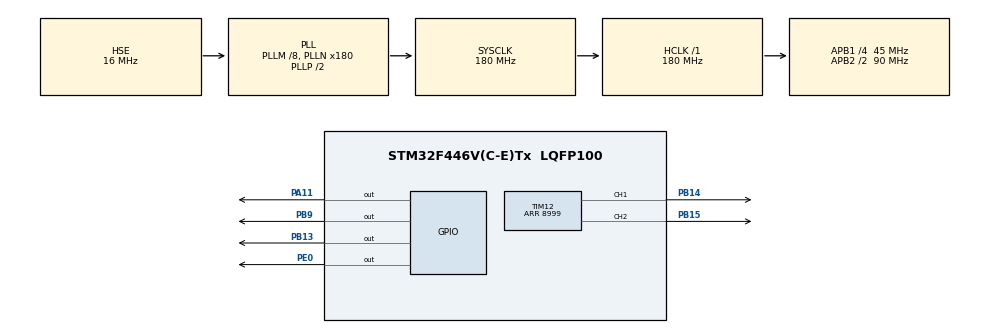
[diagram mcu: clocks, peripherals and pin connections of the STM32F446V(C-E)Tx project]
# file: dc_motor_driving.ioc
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Mcu.Family=STM32F4
RCC.PLLSourceVirtual=RCC_PLLSOURCE_HSE
PH0-OSC_IN.Signal=RCC_OSC_IN
RCC.CortexFreq_Value=180000000
TIM12.Channel-PWM\ Generation2\ CH2=TIM_CHANNEL_2
RCC.APB1CLKDivider=RCC_HCLK_DIV4
PB15.Signal=S_TIM12_CH2
PB13.Signal=GPIO_Output
RCC.SYSCLKSource=RCC_SYSCLKSOURCE_PLLCLK
ProjectManager.StackSize=0x400
ProjectManager.TargetToolchain=EWARM V8.32
RCC.HCLKFreq_Value=180000000
RCC.APB2TimFreq_Value=180000000
RCC.USBFreq_Value=180000000
RCC.AHBFreq_Value=180000000
PH0-OSC_IN.Mode=HSE-External-Oscillator
PB14.Signal=S_TIM12_CH1
RCC.HSE_VALUE=16000000
board=custom
RCC.VCOOutputFreq_Value=360000000
TIM12.Period=8999
TIM12.Channel-PWM\ Generation1\ CH1=TIM_CHANNEL_1
RCC.APB2Freq_Value=90000000
SH.S_TIM12_CH1.0=TIM12_CH1,PWM Generation1 CH1
PH1-OSC_OUT.Signal=RCC_OSC_OUT
VP_TIM12_VS_ClockSourceINT.Mode=Internal
PE0.Signal=GPIO_Output
Mcu.Name=STM32F446V(C-E)Tx
PH1-OSC_OUT.Mode=HSE-External-Oscillator
RCC.SYSCLKFreq_VALUE=180000000
Mcu.Package=LQFP100
PB9.Signal=GPIO_Output
PA11.Signal=GPIO_Output
ProjectManager.HeapSize=0x200
SH.S_TIM12_CH2.0=TIM12_CH2,PWM Generation2 CH2
NVIC.PriorityGroup=NVIC_PRIORITYGROUP_4
RCC.APB2CLKDivider=RCC_HCLK_DIV2
RCC.PLLM=8
RCC.PLLN=180
RCC.APB1TimFreq_Value=90000000
RCC.APB1Freq_Value=45000000

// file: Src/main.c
/* USER CODE BEGIN Header */
/**
  ******************************************************************************
  * @file           : main.c
  * @brief          : Main program body
  ******************************************************************************
  * @attention
  *
  * <h2><center>&copy; Copyright (c) 2020 STMicroelectronics.
  * All rights reserved.</center></h2>
  *
  * This software component is licensed by ST under BSD 3-Clause license,
  * the "License"; You may not use this file except in compliance with the
  * License. You may obtain a copy of the License at:
  *                        opensource.org/licenses/BSD-3-Clause
  *
  ******************************************************************************
  */
/* USER CODE END Header */

#include "main.h"

TIM_HandleTypeDef htim12;

void SystemClock_Config(void);
static void MX_GPIO_Init(void);
static void MX_TIM12_Init(void);

/* USER CODE BEGIN 0 */
float dc_speed_demand; // [-100, 100]
float dc_speed_command;
int16_t pwm_duty;
/* USER CODE END 0 */

int main(void)
{

  /* MCU Configuration--------------------------------------------------------*/

  /* Reset of all peripherals, Initializes the Flash interface and the Systick. */
  HAL_Init();

  /* Configure the system clock */
  SystemClock_Config();

  /* Initialize all configured peripherals */
  MX_GPIO_Init();
  MX_TIM12_Init();
  /* USER CODE BEGIN 2 */

  HAL_GPIO_WritePin(GPIOA, GPIO_PIN_11, GPIO_PIN_SET);
  HAL_GPIO_WritePin(GPIOB, GPIO_PIN_13, GPIO_PIN_SET);

  HAL_TIM_PWM_Start(&htim12, TIM_CHANNEL_1);
  HAL_TIM_PWM_Start(&htim12, TIM_CHANNEL_2);
  /* USER CODE END 2 */

  /* Infinite loop */
  /* USER CODE BEGIN WHILE */
  while (1)
  {
    dc_speed_demand = dc_speed_demand > 100.0f ? 100.0f : (dc_speed_demand < -100.0f ? -100.0f : dc_speed_demand);
    dc_speed_command = dc_speed_command * 0.99f + dc_speed_demand * 0.01f;

    pwm_duty = (int16_t)((float)htim12.Instance->ARR * dc_speed_command / 100.0f);

    if(pwm_duty < 0){
      htim12.Instance->CCR1 = 0;
      htim12.Instance->CCR2 = -pwm_duty;
    }else{
      htim12.Instance->CCR2 = 0;
      htim12.Instance->CCR1 = pwm_duty;
    }

    HAL_Delay(1);
    /* USER CODE END WHILE */

  }
}

void SystemClock_Config(void)
{
  RCC_OscInitTypeDef RCC_OscInitStruct = {0};
  RCC_ClkInitTypeDef RCC_ClkInitStruct = {0};

  /** Configure the main internal regulator output voltage
  */
  __HAL_RCC_PWR_CLK_ENABLE();
  __HAL_PWR_VOLTAGESCALING_CONFIG(PWR_REGULATOR_VOLTAGE_SCALE1);
  /** Initializes the CPU, AHB and APB busses clocks
  */
  RCC_OscInitStruct.OscillatorType = RCC_OSCILLATORTYPE_HSE;
  RCC_OscInitStruct.HSEState = RCC_HSE_ON;
  RCC_OscInitStruct.PLL.PLLState = RCC_PLL_ON;
  RCC_OscInitStruct.PLL.PLLSource = RCC_PLLSOURCE_HSE;
  RCC_OscInitStruct.PLL.PLLM = 8;
  RCC_OscInitStruct.PLL.PLLN = 180;
  RCC_OscInitStruct.PLL.PLLP = RCC_PLLP_DIV2;
  RCC_OscInitStruct.PLL.PLLQ = 2;
  RCC_OscInitStruct.PLL.PLLR = 2;
  if (HAL_RCC_OscConfig(&RCC_OscInitStruct) != HAL_OK)
  {
    Error_Handler();
  }
  /** Activate the Over-Drive mode
  */
  if (HAL_PWREx_EnableOverDrive() != HAL_OK)
  {
    Error_Handler();
  }
  /** Initializes the CPU, AHB and APB busses clocks
  */
  RCC_ClkInitStruct.ClockType = RCC_CLOCKTYPE_HCLK|RCC_CLOCKTYPE_SYSCLK
                              |RCC_CLOCKTYPE_PCLK1|RCC_CLOCKTYPE_PCLK2;
  RCC_ClkInitStruct.SYSCLKSource = RCC_SYSCLKSOURCE_PLLCLK;
  RCC_ClkInitStruct.AHBCLKDivider = RCC_SYSCLK_DIV1;
  RCC_ClkInitStruct.APB1CLKDivider = RCC_HCLK_DIV4;
  RCC_ClkInitStruct.APB2CLKDivider = RCC_HCLK_DIV2;

  if (HAL_RCC_ClockConfig(&RCC_ClkInitStruct, FLASH_LATENCY_5) != HAL_OK)
  {
    Error_Handler();
  }
}

static void MX_TIM12_Init(void)
{

  TIM_ClockConfigTypeDef sClockSourceConfig = {0};
  TIM_OC_InitTypeDef sConfigOC = {0};

  htim12.Instance = TIM12;
  htim12.Init.Prescaler = 0;
  htim12.Init.CounterMode = TIM_COUNTERMODE_UP;
  htim12.Init.Period = 8999;
  htim12.Init.ClockDivision = TIM_CLOCKDIVISION_DIV1;
  htim12.Init.AutoReloadPreload = TIM_AUTORELOAD_PRELOAD_DISABLE;
  if (HAL_TIM_Base_Init(&htim12) != HAL_OK)
  {
    Error_Handler();
  }
  sClockSourceConfig.ClockSource = TIM_CLOCKSOURCE_INTERNAL;
  if (HAL_TIM_ConfigClockSource(&htim12, &sClockSourceConfig) != HAL_OK)
  {
    Error_Handler();
  }
  if (HAL_TIM_PWM_Init(&htim12) != HAL_OK)
  {
    Error_Handler();
  }
  sConfigOC.OCMode = TIM_OCMODE_PWM1;
  sConfigOC.Pulse = 0;
  sConfigOC.OCPolarity = TIM_OCPOLARITY_HIGH;
  sConfigOC.OCFastMode = TIM_OCFAST_DISABLE;
  if (HAL_TIM_PWM_ConfigChannel(&htim12, &sConfigOC, TIM_CHANNEL_1) != HAL_OK)
  {
    Error_Handler();
  }
  if (HAL_TIM_PWM_ConfigChannel(&htim12, &sConfigOC, TIM_CHANNEL_2) != HAL_OK)
  {
    Error_Handler();
  }
  HAL_TIM_MspPostInit(&htim12);

}

static void MX_GPIO_Init(void)
{
  GPIO_InitTypeDef GPIO_InitStruct = {0};

  /* GPIO Ports Clock Enable */
  __HAL_RCC_GPIOH_CLK_ENABLE();
  __HAL_RCC_GPIOB_CLK_ENABLE();
  __HAL_RCC_GPIOA_CLK_ENABLE();
  __HAL_RCC_GPIOE_CLK_ENABLE();

  /*Configure GPIO pin Output Level */
  HAL_GPIO_WritePin(GPIOB, GPIO_PIN_13|GPIO_PIN_9, GPIO_PIN_RESET);

  /*Configure GPIO pin Output Level */
  HAL_GPIO_WritePin(GPIOA, GPIO_PIN_11, GPIO_PIN_RESET);

  /*Configure GPIO pin Output Level */
  HAL_GPIO_WritePin(GPIOE, GPIO_PIN_0, GPIO_PIN_RESET);

  /*Configure GPIO pins : PB13 PB9 */
  GPIO_InitStruct.Pin = GPIO_PIN_13|GPIO_PIN_9;
  GPIO_InitStruct.Mode = GPIO_MODE_OUTPUT_PP;
  GPIO_InitStruct.Pull = GPIO_NOPULL;
  GPIO_InitStruct.Speed = GPIO_SPEED_FREQ_LOW;
  HAL_GPIO_Init(GPIOB, &GPIO_InitStruct);

  /*Configure GPIO pin : PA11 */
  GPIO_InitStruct.Pin = GPIO_PIN_11;
  GPIO_InitStruct.Mode = GPIO_MODE_OUTPUT_PP;
  GPIO_InitStruct.Pull = GPIO_NOPULL;
  GPIO_InitStruct.Speed = GPIO_SPEED_FREQ_LOW;
  HAL_GPIO_Init(GPIOA, &GPIO_InitStruct);

  /*Configure GPIO pin : PE0 */
  GPIO_InitStruct.Pin = GPIO_PIN_0;
  GPIO_InitStruct.Mode = GPIO_MODE_OUTPUT_PP;
  GPIO_InitStruct.Pull = GPIO_NOPULL;
  GPIO_InitStruct.Speed = GPIO_SPEED_FREQ_LOW;
  HAL_GPIO_Init(GPIOE, &GPIO_InitStruct);

}

void Error_Handler(void)
{
}

/************************ (C) COPYRIGHT STMicroelectronics *****END OF FILE****/
